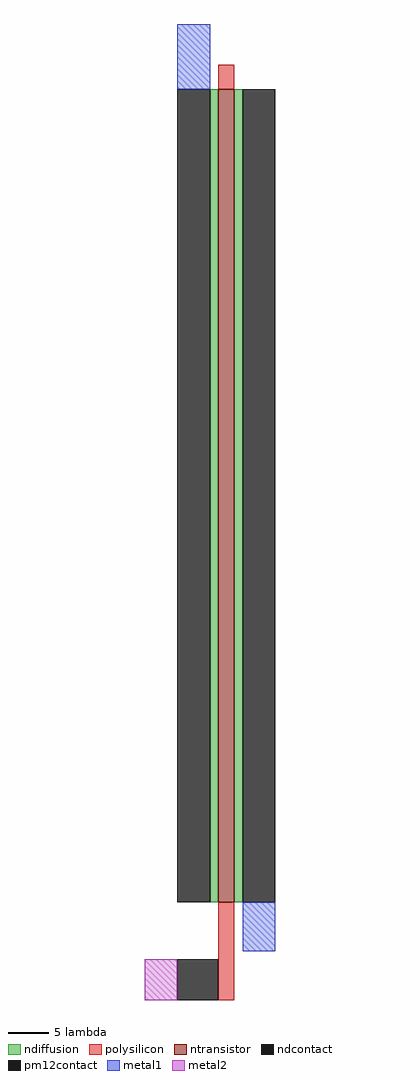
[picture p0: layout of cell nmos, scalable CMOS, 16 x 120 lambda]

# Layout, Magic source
magic
tech scmos
<< ntransistor >>
rect -4 -4 -2 96
<< ndiffusion >>
rect -5 -4 -4 96
rect -2 -4 -1 96
<< ndcontact >>
rect -9 -4 -5 96
rect -1 -4 3 96
<< polysilicon >>
rect -4 96 -2 99
rect -4 -16 -2 -4
<< metal1 >>
rect -9 96 -5 104
rect -1 -10 3 -4
<< pm12contact >>
rect -9 -16 -4 -11
<< metal2 >>
rect -13 -16 -9 -11
<< end >>
